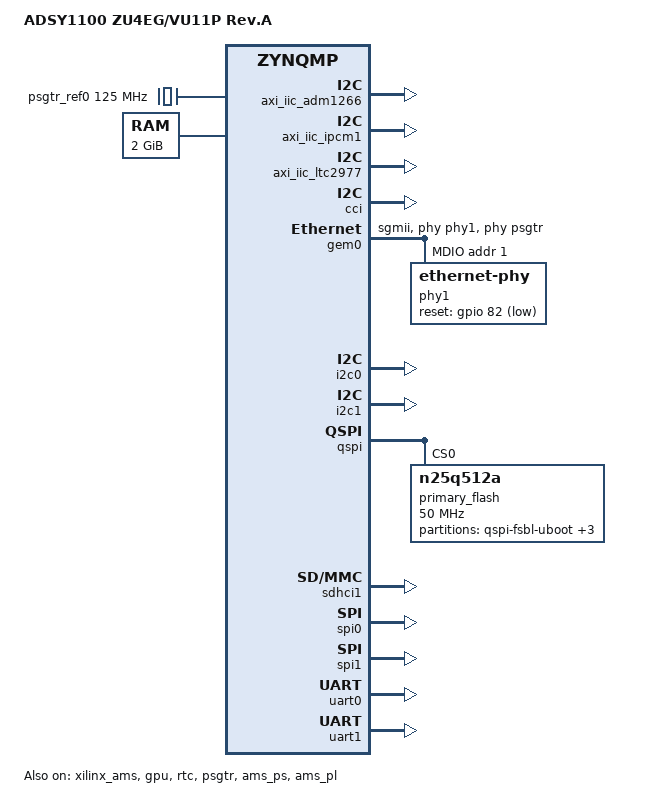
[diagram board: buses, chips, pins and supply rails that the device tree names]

/dts-v1/;

#include "zynqmp.dtsi"
#include "zynqmp-clk-ccf.dtsi"
#include <dt-bindings/gpio/gpio.h>
#include <dt-bindings/phy/phy.h>

#include <dt-bindings/iio/adc/adi,ad9088.h>
#include <dt-bindings/jesd204/adxcvr.h>

/ {

	model = "ADSY1100 ZU4EG/VU11P Rev.A";

	chosen {
		bootargs = "earlycon console=ttyPS0,115200 clk_ignore_unused root=/dev/mmcblk0p2 ro rootwait";
		stdout-path = "serial0:115200n8";
	};

	aliases {
		ethernet0 = &gem0;
		i2c0 = &i2c0;
		i2c1 = &i2c1;
		i2c2 = &axi_iic_adm1266;
		i2c3 = &axi_iic_ipcm1;
		i2c4 = &axi_iic_ltc2977;
		serial0 = &uart0;
		serial1 = &uart1;
		spi0 = &qspi;
		spi1 = &spi0;
		spi2 = &spi1;
	};

	psgtr_ref0: ext_clk {
		compatible = "fixed-clock";
		#clock-cells = <0>;
		clock-frequency = <125000000>;
	};

	vu11p_fpga_mgr: fpga-mgr@93000000 {
		compatible = "adi,fpga-16-selectmap";
		reg = <0x0 0x93000000 0x0 0x10000>;
		prog-gpios = <&gpio 116 GPIO_ACTIVE_LOW>; //38
		init-gpios = <&gpio 114 GPIO_ACTIVE_LOW>;//36
		done-gpios = <&gpio 115 GPIO_ACTIVE_HIGH>;//37
		csi-gpios = <&gpio 121 GPIO_ACTIVE_LOW>;//43
		rdwr-gpios = <&gpio 117 GPIO_ACTIVE_LOW>;//39
	};

	vu11p_fpga_region: fpga-vu11p {
		#address-cells = <2>;
		#size-cells = <2>;

		compatible = "fpga-region";
		fpga-mgr = <&vu11p_fpga_mgr>;
		ranges = <0x0 0x80000000 0x0 0x80000000 0x0 0x10000000>;
	};

	memory@0 {
		device_type = "memory";
		reg = <0x0 0x0 0x0 0x7ff00000>;
	};

	memory_vu11p@1 {
		device_type = "memory";
		reg = <0x0 0x80000000 0x0 0x7ff0000>;
	};

	reserved-memory {
		#address-cells = <2>;
		#size-cells = <2>;
		ranges;

		vu11p_ddr_dma: vu11p_dma_mem_region@80000000 {
			compatible = "restricted-dma-pool";
			reg = <0x0 0x80000000 0x0 0x7ff0000>;
		};
	};
};


/ {
	amba_pl: amba_pl@0 {
		#address-cells = <2>;
		#size-cells = <2>;
		compatible = "simple-bus";
		ranges ;
		axi_chip2chip: axi_chip2chip@80000000 {
			clock-names = "aurora_init_clk", "axi_c2c_phy_clk", "s_aclk";
			clocks = <&zynqmp_clk 71>, <&misc_clk_0>, <&zynqmp_clk 71>;
			compatible = "xlnx,axi-chip2chip-5.0";
			reg = <0x0 0x80000000 0x0 0x10000000>;
			xlnx,aurora-width = <0x80>;
			xlnx,axi-addr-width = <0x20>;
			xlnx,axi-brst-width = <0x2>;
			xlnx,axi-bus-type = <0x0>;
			xlnx,axi-data-width = <0x80>;
			xlnx,axi-id-width = <0x1>;
			xlnx,axi-len-width = <0x8>;
			xlnx,axi-lite-addr-width = <0x20>;
			xlnx,axi-lite-data-width = <0x20>;
			xlnx,axi-lite-prot-width = <0x2>;
			xlnx,axi-lite-resp-width = <0x2>;
			xlnx,axi-lite-stb-width = <0x4>;
			xlnx,axi-resp-width = <0x2>;
			xlnx,axi-size-width = <0x3>;
			xlnx,axi-stb-width = <0x10>;
			xlnx,axi-wuser-width = <0x1>;
			xlnx,common-clk = <0x0>;
			xlnx,disable-clk-shift = <0x0>;
			xlnx,disable-deskew = <0x0>;
			xlnx,ecc-enable = <0x1>;
			xlnx,en-aur-gtm-exdes = "false";
			xlnx,en-axi-link-hndlr = <0x0>;
			xlnx,en-legacy-mode = <0x0>;
			xlnx,include-axilite = <0x0>;
			xlnx,interface-mode = <0x1>;
			xlnx,interface-type = <0x2>;
			xlnx,interrupt-width = <0x4>;
			xlnx,master-fpga = <0x1>;
			xlnx,num-of-io = <0x14>;
			xlnx,selectio-phy-clk = <0x64>;
			xlnx,simulation = <0x0>;
			xlnx,support-narrowburst = "axi_c2c";
			xlnx,use-diff-clk = <0x0>;
			xlnx,use-diff-io = <0x0>;
		};
		misc_clk_0: misc_clk_0 {
			#clock-cells = <0>;
			clock-frequency = <195312500>;
			compatible = "fixed-clock";
		};
		axi_iic_adm1266: i2c@91000000 {
			#address-cells = <1>;
			#size-cells = <0>;
			clock-names = "s_axi_aclk";
			clocks = <&zynqmp_clk 71>;
			compatible = "xlnx,axi-iic-2.1", "xlnx,xps-iic-2.00.a";
			interrupt-names = "iic2intc_irpt";
			interrupt-parent = <&gic>;
			interrupts = <0 95 4>;
			reg = <0x0 0x91000000 0x0 0x1000>;
		};
		axi_iic_ipcm1: i2c@92000000 {
			#address-cells = <1>;
			#size-cells = <0>;
			clock-names = "s_axi_aclk";
			clocks = <&zynqmp_clk 71>;
			compatible = "xlnx,axi-iic-2.1", "xlnx,xps-iic-2.00.a";
			interrupt-names = "iic2intc_irpt";
			interrupt-parent = <&gic>;
			interrupts = <0 94 4>;
			reg = <0x0 0x92000000 0x0 0x1000>;
		};
		axi_iic_ltc2977: i2c@90000000 {
			#address-cells = <1>;
			#size-cells = <0>;
			clock-names = "s_axi_aclk";
			clocks = <&zynqmp_clk 71>;
			compatible = "xlnx,axi-iic-2.1", "xlnx,xps-iic-2.00.a";
			interrupt-names = "iic2intc_irpt";
			interrupt-parent = <&gic>;
			interrupts = <0 96 4>;
			reg = <0x0 0x90000000 0x0 0x1000>;
		};
		axi_selmap: axi_selmap@93000000 {
			clock-names = "s_axi_aclk";
			clocks = <&zynqmp_clk 71>;
			compatible = "xlnx,axi-selmap-1.0";
			reg = <0x0 0x93000000 0x0 0x10000>;
		};
	};
};

//TODO:PCW
&gic {
	num_cpus = <2>;
	num_interrupts = <96>;
};
&lpd_dma_chan1 {
	status = "okay";
};
&lpd_dma_chan2 {
	status = "okay";
};
&lpd_dma_chan3 {
	status = "okay";
};
&lpd_dma_chan4 {
	status = "okay";
};
&lpd_dma_chan5 {
	status = "okay";
};
&lpd_dma_chan6 {
	status = "okay";
};
&lpd_dma_chan7 {
	status = "okay";
};
&lpd_dma_chan8 {
	status = "okay";
};
&xilinx_ams {
	status = "okay";
};
&cci {
	status = "okay";
};
&gem0 {
	phy-mode = "sgmii";
	status = "okay";
	xlnx,ptp-enet-clock = <0x0>;
};
&fpd_dma_chan1 {
	status = "okay";
};
&fpd_dma_chan2 {
	status = "okay";
};
&fpd_dma_chan3 {
	status = "okay";
};
&fpd_dma_chan4 {
	status = "okay";
};
&fpd_dma_chan5 {
	status = "okay";
};
&fpd_dma_chan6 {
	status = "okay";
};
&fpd_dma_chan7 {
	status = "okay";
};
&fpd_dma_chan8 {
	status = "okay";
};
&gpio {
	emio-gpio-width = <32>;
	gpio-mask-high = <0x0>;
	gpio-mask-low = <0x5600>;
	status = "okay";
};
&gpu {
	status = "okay";
	xlnx,tz-nonsecure = <0x1>;
};
&i2c0 {
	status = "okay";
};
&i2c1 {
	status = "okay";
};
&qspi {
	is-dual = <1>;
	num-cs = <2>;
	spi-rx-bus-width = <4>;
	spi-tx-bus-width = <4>;
	status = "okay";
};
&rtc {
	status = "okay";
};
&sdhci1 {
	clock-frequency = <199998001>;
	status = "okay";
	xlnx,mio-bank = <0x1>;
};
&psgtr {
	status = "okay";
};
&spi0 {
	is-decoded-cs = <0>;
	num-cs = <1>;
	status = "okay";
};
&spi1 {
	is-decoded-cs = <0>;
	num-cs = <1>;
	status = "okay";
};
&uart0 {
	cts-override ;
	device_type = "serial";
	port-number = <0>;
	status = "okay";
	u-boot,dm-pre-reloc ;
};
&uart1 {
	cts-override ;
	device_type = "serial";
	port-number = <1>;
	status = "okay";
	u-boot,dm-pre-reloc ;
};
&pinctrl0 {
	i2c1-default {
		/delete-node/ conf ;
		/delete-node/ mux ;
	};
	i2c1-gpio {
		/delete-node/ conf ;
		/delete-node/ mux ;
	};
};
&ams_ps {
	status = "okay";
};
&ams_pl {
	status = "okay";
};

&axi_selmap {
	status = "disabled";
};

&psgtr {
	status = "okay";
	clocks = <&psgtr_ref0>;
	clock-names = "ref0";
};

&gem0 {
	phys = <&psgtr 0 PHY_TYPE_SGMII 0 0>;
	phy-handle = <&phy1>;
	phy-mode = "sgmii";
	is-internal-pcspma;
	mdio {
		#address-cells = <1>;
		#size-cells = <0>;
		phy1: ethernet-phy@1 {
			reg = <1>;
			device_type = "ethernet-phy";
			reset-gpios = <&gpio 82 GPIO_ACTIVE_LOW>;
			reset-assert-us = <20000>;
			reset-deassert-us = <500>;
		};
	};
};

&sdhci1 {
	disable-wp;
	no-1-8-v;
};

&qspi {
	status = "okay";
	is-dual = <1>;
	num-cs = <1>;
	primary_flash: qspi@0 {
		#address-cells = <1>;
		#size-cells = <1>;
		spi-tx-bus-width = <1>;
		spi-rx-bus-width = <4>;
		compatible = "n25q512a", "jedec,spi-nor";
		reg = <0x0>;
		spi-max-frequency = <50000000>;
		// partition@full_2G {
		// 	label = "qspi-full_2G";
		// 	reg = <0x0 0x80000000>; /* 2G */
		// };
		partition@qspi-fsbl-uboot {
			label = "qspi-fsbl-uboot";
			reg = <0x0 0x2000000>; /* 32M */
		};
		partition@qspi-uboot-env {
			label = "qspi-uboot-env";
			reg = <0x2000000 0x20000>; /* 128k */
		};
		partition@qspi-nvmfs {
			label = "qspi-nvmfs";
			reg = <0x2020000 0xE0000>; /* 1M */
		};
		partition@qspi-linux {
			label = "qspi-linux";
			reg = <0x2100000 0x5E00000>; /* 94M */
		};
	};
};
